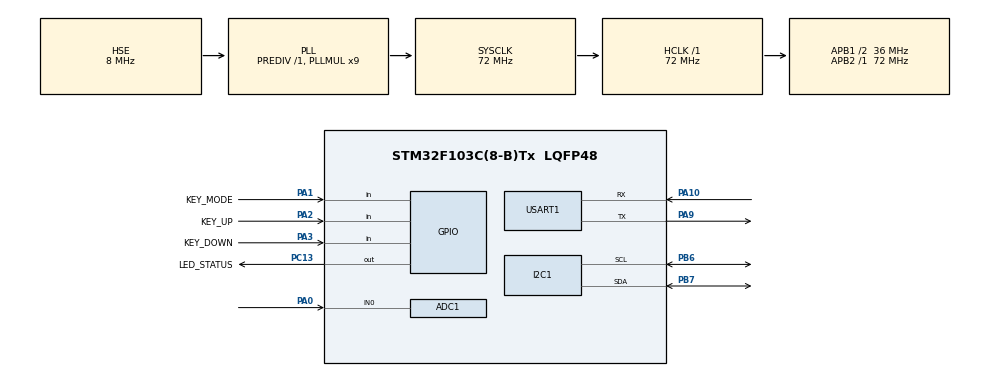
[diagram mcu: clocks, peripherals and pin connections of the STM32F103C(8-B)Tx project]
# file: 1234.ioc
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ADC1.Channel-0\#ChannelRegularConversion=ADC_CHANNEL_0
ADC1.ContinuousConvMode=ENABLE
ADC1.NbrOfConversion=1
ADC1.NbrOfConversionFlag=1
ADC1.Rank-0\#ChannelRegularConversion=1
ADC1.SamplingTime-0\#ChannelRegularConversion=ADC_SAMPLETIME_1CYCLE_5
ADC1.master=1
Dma.ADC1.0.Direction=DMA_PERIPH_TO_MEMORY
Dma.ADC1.0.Instance=DMA1_Channel1
Dma.ADC1.0.MemDataAlignment=DMA_MDATAALIGN_HALFWORD
Dma.ADC1.0.MemInc=DMA_MINC_ENABLE
Dma.ADC1.0.Mode=DMA_CIRCULAR
Dma.ADC1.0.PeriphDataAlignment=DMA_PDATAALIGN_HALFWORD
Dma.ADC1.0.PeriphInc=DMA_PINC_DISABLE
Dma.ADC1.0.Priority=DMA_PRIORITY_LOW
Dma.Request0=ADC1
Dma.Request1=USART1_RX
Dma.USART1_RX.1.Direction=DMA_PERIPH_TO_MEMORY
Dma.USART1_RX.1.Instance=DMA1_Channel5
Dma.USART1_RX.1.MemDataAlignment=DMA_MDATAALIGN_BYTE
Dma.USART1_RX.1.MemInc=DMA_MINC_ENABLE
Dma.USART1_RX.1.Mode=DMA_CIRCULAR
Dma.USART1_RX.1.PeriphDataAlignment=DMA_PDATAALIGN_BYTE
Dma.USART1_RX.1.PeriphInc=DMA_PINC_DISABLE
Dma.USART1_RX.1.Priority=DMA_PRIORITY_LOW
FREERTOS.BinarySemaphores01=Sem_ADC_Ready,Dynamic,NULL
FREERTOS.Queues01=Queue_UART_TX,16,uint16_t,0,Dynamic,NULL,NULL
FREERTOS.Tasks01=defaultTask,24,128,StartDefaultTask,Default,NULL,Dynamic,NULL,NULL;Task_ADC,40,256,StartTaskADC,Default,NULL,Dynamic,NULL,NULL;Task_Display,24,256,StartTaskDisplay,Default,NULL,Dynamic,NULL,NULL;Task_UART,32,512,StartTaskUART,Default,NULL,Dynamic,NULL,NULL;Task_Watchdog,8,128,StartTaskWatchdog,Default,NULL,Dynamic,NULL,NULL
FREERTOS.configTOTAL_HEAP_SIZE=8192
I2C1.I2C_Mode=I2C_Fast
IWDG.Prescaler=IWDG_PRESCALER_32
Mcu.Family=STM32F1
Mcu.Name=STM32F103C(8-B)Tx
Mcu.Package=LQFP48
NVIC.DMA1_Channel1_IRQn=true\:7\:0\:true\:false\:true\:true\:false\:true\:true
NVIC.DMA1_Channel5_IRQn=true\:5\:0\:false\:false\:true\:true\:false\:true\:true
NVIC.PriorityGroup=NVIC_PRIORITYGROUP_4
NVIC.TIM2_IRQn=true\:5\:0\:false\:false\:true\:true\:true\:true\:true
NVIC.TIM4_IRQn=true\:15\:0\:false\:false\:true\:false\:false\:true\:true
NVIC.TimeBase=TIM4_IRQn
NVIC.TimeBaseIP=TIM4
NVIC.USART1_IRQn=true\:6\:0\:true\:false\:true\:true\:true\:true\:true
PA0-WKUP.Signal=ADCx_IN0
PA1.GPIO_Label=KEY_MODE
PA1.GPIO_PuPd=GPIO_PULLUP
PA1.Signal=GPIO_Input
PA10.Mode=Asynchronous
PA10.Signal=USART1_RX
PA13.Mode=Serial_Wire
PA13.Signal=SYS_JTMS-SWDIO
PA14.Mode=Serial_Wire
PA14.Signal=SYS_JTCK-SWCLK
PA2.GPIO_Label=KEY_UP
PA2.GPIO_PuPd=GPIO_PULLUP
PA2.Signal=GPIO_Input
PA3.GPIO_Label=KEY_DOWN
PA3.GPIO_PuPd=GPIO_PULLUP
PA3.Signal=GPIO_Input
PA9.Mode=Asynchronous
PA9.Signal=USART1_TX
PB6.GPIO_Mode=GPIO_MODE_AF_OD
PB6.Mode=I2C
PB6.Signal=I2C1_SCL
PB7.Mode=I2C
PB7.Signal=I2C1_SDA
PC13-TAMPER-RTC.GPIO_Label=LED_STATUS
PC13-TAMPER-RTC.GPIO_ModeDefaultOutputPP=GPIO_MODE_OUTPUT_PP
PC13-TAMPER-RTC.GPIO_PuPd=GPIO_NOPULL
PC13-TAMPER-RTC.PinState=GPIO_PIN_RESET
PC13-TAMPER-RTC.Signal=GPIO_Output
PD0-OSC_IN.Mode=HSE-External-Oscillator
PD0-OSC_IN.Signal=RCC_OSC_IN
PD1-OSC_OUT.Mode=HSE-External-Oscillator
PD1-OSC_OUT.Signal=RCC_OSC_OUT
ProjectManager.HeapSize=0x200
ProjectManager.StackSize=0x400
ProjectManager.TargetToolchain=MDK-ARM V5.32
RCC.ADCPresc=RCC_ADCPCLK2_DIV6
RCC.AHBFreq_Value=72000000
RCC.APB1CLKDivider=RCC_HCLK_DIV2
RCC.APB1Freq_Value=36000000
RCC.APB1TimFreq_Value=72000000
RCC.APB2Freq_Value=72000000
RCC.APB2TimFreq_Value=72000000
RCC.HCLKFreq_Value=72000000
RCC.PLLMUL=RCC_PLL_MUL9
RCC.PLLSourceVirtual=RCC_PLLSOURCE_HSE
RCC.SYSCLKFreq_VALUE=72000000
RCC.SYSCLKSource=RCC_SYSCLKSOURCE_PLLCLK
RCC.USBFreq_Value=72000000
SH.ADCx_IN0.0=ADC1_IN0,IN0
TIM2.Period=99
TIM2.Prescaler=719
USART1.VirtualMode=VM_ASYNC
VP_ADC1_TempSens_Input.Mode=IN-TempSens
VP_FREERTOS_VS_CMSIS_V2.Mode=CMSIS_V2
VP_IWDG_VS_IWDG.Mode=IWDG_Activate
VP_SYS_VS_tim4.Mode=TIM4
VP_TIM2_VS_ClockSourceINT.Mode=Internal
board=custom

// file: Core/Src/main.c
/* USER CODE BEGIN Header */
/**
  ******************************************************************************
  * @file           : main.c
  * @brief          : Main program body
  ******************************************************************************
  * @attention
  *
  * Copyright (c) 2026 STMicroelectronics.
  * All rights reserved.
  *
  * This software is licensed under terms that can be found in the LICENSE file
  * in the root directory of this software component.
  * If no LICENSE file comes with this software, it is provided AS-IS.
  *
  ******************************************************************************
  */
/* USER CODE END Header */
#include "main.h"
#include "cmsis_os.h"

/* USER CODE BEGIN Includes */
#include "adc_task.h"
#include "display_task.h"
#include "uart_task.h"

#include "key.h"
#include "stdio.h"
#include "string.h"
#include "oled.h"
/* USER CODE END Includes */

ADC_HandleTypeDef hadc1;
DMA_HandleTypeDef hdma_adc1;

I2C_HandleTypeDef hi2c1;

IWDG_HandleTypeDef hiwdg;

TIM_HandleTypeDef htim2;

UART_HandleTypeDef huart1;
DMA_HandleTypeDef hdma_usart1_rx;

/* Definitions for defaultTask */
osThreadId_t defaultTaskHandle;
const osThreadAttr_t defaultTask_attributes = {
  .name = "defaultTask",
  .stack_size = 128 * 4,
  .priority = (osPriority_t) osPriorityNormal,
};
/* Definitions for Task_ADC */
osThreadId_t Task_ADCHandle;
const osThreadAttr_t Task_ADC_attributes = {
  .name = "Task_ADC",
  .stack_size = 256 * 4,
  .priority = (osPriority_t) osPriorityHigh,
};
/* Definitions for Task_Display */
osThreadId_t Task_DisplayHandle;
const osThreadAttr_t Task_Display_attributes = {
  .name = "Task_Display",
  .stack_size = 256 * 4,
  .priority = (osPriority_t) osPriorityNormal,
};
/* Definitions for Task_UART */
osThreadId_t Task_UARTHandle;
const osThreadAttr_t Task_UART_attributes = {
  .name = "Task_UART",
  .stack_size = 512 * 4,
  .priority = (osPriority_t) osPriorityAboveNormal,
};
/* Definitions for Task_Watchdog */
osThreadId_t Task_WatchdogHandle;
const osThreadAttr_t Task_Watchdog_attributes = {
  .name = "Task_Watchdog",
  .stack_size = 128 * 4,
  .priority = (osPriority_t) osPriorityLow,
};
/* Definitions for Queue_UART_TX */
osMessageQueueId_t Queue_UART_TXHandle;
const osMessageQueueAttr_t Queue_UART_TX_attributes = {
  .name = "Queue_UART_TX"
};
/* Definitions for Sem_ADC_Ready */
osSemaphoreId_t Sem_ADC_ReadyHandle;
const osSemaphoreAttr_t Sem_ADC_Ready_attributes = {
  .name = "Sem_ADC_Ready"
};
/* USER CODE BEGIN PV */
volatile uint8_t SystemMode = 0;
volatile uint32_t SystemParam = 0;
struct {
    float value1;
    float value2;
    float value3;
} SystemData = {0};

extern I2C_HandleTypeDef hi2c1;
extern UART_HandleTypeDef huart1;
/* USER CODE END PV */

void SystemClock_Config(void);
static void MX_GPIO_Init(void);
static void MX_DMA_Init(void);
static void MX_ADC1_Init(void);
static void MX_I2C1_Init(void);
static void MX_USART1_UART_Init(void);
static void MX_TIM2_Init(void);
static void MX_IWDG_Init(void);
void StartDefaultTask(void *argument);
void StartTaskADC(void *argument);
void StartTaskDisplay(void *argument);
void StartTaskUART(void *argument);
void StartTaskWatchdog(void *argument);

int main(void)
{

  /* MCU Configuration--------------------------------------------------------*/

  /* Reset of all peripherals, Initializes the Flash interface and the Systick. */
  HAL_Init();

  /* Configure the system clock */
  SystemClock_Config();

  /* Initialize all configured peripherals */
  MX_GPIO_Init();
  MX_DMA_Init();
  MX_ADC1_Init();
  MX_I2C1_Init();
  MX_USART1_UART_Init();
  MX_TIM2_Init();
  MX_IWDG_Init();

  /* Init scheduler */
  osKernelInitialize();

  /* Create the semaphores(s) */
  /* creation of Sem_ADC_Ready */
  Sem_ADC_ReadyHandle = osSemaphoreNew(1, 0, &Sem_ADC_Ready_attributes);

  /* Create the queue(s) */
  /* creation of Queue_UART_TX */
  Queue_UART_TXHandle = osMessageQueueNew (16, sizeof(uint16_t), &Queue_UART_TX_attributes);

  /* Create the thread(s) */
  /* creation of defaultTask */
  defaultTaskHandle = osThreadNew(StartDefaultTask, NULL, &defaultTask_attributes);

  /* creation of Task_ADC */
  Task_ADCHandle = osThreadNew(StartTaskADC, NULL, &Task_ADC_attributes);

  /* creation of Task_Display */
  Task_DisplayHandle = osThreadNew(StartTaskDisplay, NULL, &Task_Display_attributes);

  /* creation of Task_UART */
  Task_UARTHandle = osThreadNew(StartTaskUART, NULL, &Task_UART_attributes);

  /* creation of Task_Watchdog */
  Task_WatchdogHandle = osThreadNew(StartTaskWatchdog, NULL, &Task_Watchdog_attributes);

  /* Start scheduler */
  osKernelStart();

  /* We should never get here as control is now taken by the scheduler */

  /* Infinite loop */
  while (1)
  {

  }
}

void SystemClock_Config(void)
{
  RCC_OscInitTypeDef RCC_OscInitStruct = {0};
  RCC_ClkInitTypeDef RCC_ClkInitStruct = {0};
  RCC_PeriphCLKInitTypeDef PeriphClkInit = {0};

  /** Initializes the RCC Oscillators according to the specified parameters
  * in the RCC_OscInitTypeDef structure.
  */
  RCC_OscInitStruct.OscillatorType = RCC_OSCILLATORTYPE_LSI|RCC_OSCILLATORTYPE_HSE;
  RCC_OscInitStruct.HSEState = RCC_HSE_ON;
  RCC_OscInitStruct.HSEPredivValue = RCC_HSE_PREDIV_DIV1;
  RCC_OscInitStruct.HSIState = RCC_HSI_ON;
  RCC_OscInitStruct.LSIState = RCC_LSI_ON;
  RCC_OscInitStruct.PLL.PLLState = RCC_PLL_ON;
  RCC_OscInitStruct.PLL.PLLSource = RCC_PLLSOURCE_HSE;
  RCC_OscInitStruct.PLL.PLLMUL = RCC_PLL_MUL9;
  if (HAL_RCC_OscConfig(&RCC_OscInitStruct) != HAL_OK)
  {
    Error_Handler();
  }

  /** Initializes the CPU, AHB and APB buses clocks
  */
  RCC_ClkInitStruct.ClockType = RCC_CLOCKTYPE_HCLK|RCC_CLOCKTYPE_SYSCLK
                              |RCC_CLOCKTYPE_PCLK1|RCC_CLOCKTYPE_PCLK2;
  RCC_ClkInitStruct.SYSCLKSource = RCC_SYSCLKSOURCE_PLLCLK;
  RCC_ClkInitStruct.AHBCLKDivider = RCC_SYSCLK_DIV1;
  RCC_ClkInitStruct.APB1CLKDivider = RCC_HCLK_DIV2;
  RCC_ClkInitStruct.APB2CLKDivider = RCC_HCLK_DIV1;

  if (HAL_RCC_ClockConfig(&RCC_ClkInitStruct, FLASH_LATENCY_2) != HAL_OK)
  {
    Error_Handler();
  }
  PeriphClkInit.PeriphClockSelection = RCC_PERIPHCLK_ADC;
  PeriphClkInit.AdcClockSelection = RCC_ADCPCLK2_DIV6;
  if (HAL_RCCEx_PeriphCLKConfig(&PeriphClkInit) != HAL_OK)
  {
    Error_Handler();
  }
}

static void MX_ADC1_Init(void)
{

  ADC_ChannelConfTypeDef sConfig = {0};

  /** Common config
  */
  hadc1.Instance = ADC1;
  hadc1.Init.ScanConvMode = ADC_SCAN_DISABLE;
  hadc1.Init.ContinuousConvMode = ENABLE;
  hadc1.Init.DiscontinuousConvMode = DISABLE;
  hadc1.Init.ExternalTrigConv = ADC_SOFTWARE_START;
  hadc1.Init.DataAlign = ADC_DATAALIGN_RIGHT;
  hadc1.Init.NbrOfConversion = 1;
  if (HAL_ADC_Init(&hadc1) != HAL_OK)
  {
    Error_Handler();
  }

  /** Configure Regular Channel
  */
  sConfig.Channel = ADC_CHANNEL_0;
  sConfig.Rank = ADC_REGULAR_RANK_1;
  sConfig.SamplingTime = ADC_SAMPLETIME_1CYCLE_5;
  if (HAL_ADC_ConfigChannel(&hadc1, &sConfig) != HAL_OK)
  {
    Error_Handler();
  }

}

static void MX_I2C1_Init(void)
{

  hi2c1.Instance = I2C1;
  hi2c1.Init.ClockSpeed = 400000;
  hi2c1.Init.DutyCycle = I2C_DUTYCYCLE_2;
  hi2c1.Init.OwnAddress1 = 0;
  hi2c1.Init.AddressingMode = I2C_ADDRESSINGMODE_7BIT;
  hi2c1.Init.DualAddressMode = I2C_DUALADDRESS_DISABLE;
  hi2c1.Init.OwnAddress2 = 0;
  hi2c1.Init.GeneralCallMode = I2C_GENERALCALL_DISABLE;
  hi2c1.Init.NoStretchMode = I2C_NOSTRETCH_DISABLE;
  if (HAL_I2C_Init(&hi2c1) != HAL_OK)
  {
    Error_Handler();
  }

}

static void MX_IWDG_Init(void)
{

  hiwdg.Instance = IWDG;
  hiwdg.Init.Prescaler = IWDG_PRESCALER_32;
  hiwdg.Init.Reload = 4095;
  if (HAL_IWDG_Init(&hiwdg) != HAL_OK)
  {
    Error_Handler();
  }

}

static void MX_TIM2_Init(void)
{

  TIM_ClockConfigTypeDef sClockSourceConfig = {0};
  TIM_MasterConfigTypeDef sMasterConfig = {0};

  htim2.Instance = TIM2;
  htim2.Init.Prescaler = 719;
  htim2.Init.CounterMode = TIM_COUNTERMODE_UP;
  htim2.Init.Period = 99;
  htim2.Init.ClockDivision = TIM_CLOCKDIVISION_DIV1;
  htim2.Init.AutoReloadPreload = TIM_AUTORELOAD_PRELOAD_DISABLE;
  if (HAL_TIM_Base_Init(&htim2) != HAL_OK)
  {
    Error_Handler();
  }
  sClockSourceConfig.ClockSource = TIM_CLOCKSOURCE_INTERNAL;
  if (HAL_TIM_ConfigClockSource(&htim2, &sClockSourceConfig) != HAL_OK)
  {
    Error_Handler();
  }
  sMasterConfig.MasterOutputTrigger = TIM_TRGO_RESET;
  sMasterConfig.MasterSlaveMode = TIM_MASTERSLAVEMODE_DISABLE;
  if (HAL_TIMEx_MasterConfigSynchronization(&htim2, &sMasterConfig) != HAL_OK)
  {
    Error_Handler();
  }

}

static void MX_USART1_UART_Init(void)
{

  huart1.Instance = USART1;
  huart1.Init.BaudRate = 115200;
  huart1.Init.WordLength = UART_WORDLENGTH_8B;
  huart1.Init.StopBits = UART_STOPBITS_1;
  huart1.Init.Parity = UART_PARITY_NONE;
  huart1.Init.Mode = UART_MODE_TX_RX;
  huart1.Init.HwFlowCtl = UART_HWCONTROL_NONE;
  huart1.Init.OverSampling = UART_OVERSAMPLING_16;
  if (HAL_UART_Init(&huart1) != HAL_OK)
  {
    Error_Handler();
  }

}

static void MX_DMA_Init(void)
{

  /* DMA controller clock enable */
  __HAL_RCC_DMA1_CLK_ENABLE();

  /* DMA interrupt init */
  /* DMA1_Channel1_IRQn interrupt configuration */
  HAL_NVIC_SetPriority(DMA1_Channel1_IRQn, 7, 0);
  HAL_NVIC_EnableIRQ(DMA1_Channel1_IRQn);
  /* DMA1_Channel5_IRQn interrupt configuration */
  HAL_NVIC_SetPriority(DMA1_Channel5_IRQn, 5, 0);
  HAL_NVIC_EnableIRQ(DMA1_Channel5_IRQn);

}

static void MX_GPIO_Init(void)
{
  GPIO_InitTypeDef GPIO_InitStruct = {0};

  /* GPIO Ports Clock Enable */
  __HAL_RCC_GPIOC_CLK_ENABLE();
  __HAL_RCC_GPIOD_CLK_ENABLE();
  __HAL_RCC_GPIOA_CLK_ENABLE();
  __HAL_RCC_GPIOB_CLK_ENABLE();

  /*Configure GPIO pin Output Level */
  HAL_GPIO_WritePin(LED_STATUS_GPIO_Port, LED_STATUS_Pin, GPIO_PIN_RESET);

  /*Configure GPIO pin : LED_STATUS_Pin */
  GPIO_InitStruct.Pin = LED_STATUS_Pin;
  GPIO_InitStruct.Mode = GPIO_MODE_OUTPUT_PP;
  GPIO_InitStruct.Pull = GPIO_NOPULL;
  GPIO_InitStruct.Speed = GPIO_SPEED_FREQ_LOW;
  HAL_GPIO_Init(LED_STATUS_GPIO_Port, &GPIO_InitStruct);

  /*Configure GPIO pins : KEY_MODE_Pin KEY_UP_Pin KEY_DOWN_Pin */
  GPIO_InitStruct.Pin = KEY_MODE_Pin|KEY_UP_Pin|KEY_DOWN_Pin;
  GPIO_InitStruct.Mode = GPIO_MODE_INPUT;
  GPIO_InitStruct.Pull = GPIO_PULLUP;
  HAL_GPIO_Init(GPIOA, &GPIO_InitStruct);

}

void StartDefaultTask(void *argument)
{
  for(;;)
  {
    osDelay(1);
  }
}

void StartTaskADC(void *argument)
{
  /* USER CODE BEGIN StartTaskADC */
	ADC_TaskInit();
	for(;;)
	{
		ADC_TaskLoop();
		osDelay(1);
	}
  /* Infinite loop */

  /* USER CODE END StartTaskADC */
}

void StartTaskDisplay(void *argument)
{
  /* USER CODE BEGIN StartTaskDisplay */
  /* Infinite loop */
	Display_TaskInit();
	for(;;)
	{
		Display_TaskLoop();
		osDelay(100);
	}

  /* USER CODE END StartTaskDisplay */
}

void StartTaskUART(void *argument)
{
  /* USER CODE BEGIN StartTaskUART */
  /* Infinite loop */
  UART_TaskInit();
	for(;;)
	{
		UART_TaskLoop();
		osDelay(10);
	}
  /* USER CODE END StartTaskUART */
}

void StartTaskWatchdog(void *argument)
{
  for(;;)
  {
    osDelay(1);
  }
}

void HAL_TIM_PeriodElapsedCallback(TIM_HandleTypeDef *htim)
{
  if (htim->Instance == TIM4) {
    HAL_IncTick();
  }
}

void Error_Handler(void)
{
  __disable_irq();
  while (1)
  {
  }
}
